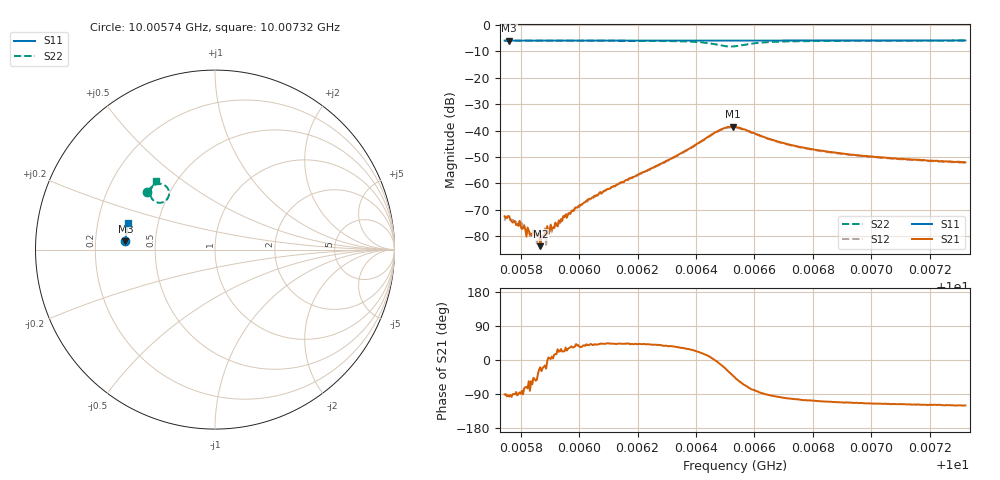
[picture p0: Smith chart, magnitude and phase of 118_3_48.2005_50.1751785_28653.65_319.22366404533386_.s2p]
#  HZ  S  RI  R  50.00
! Rohde & Schwarz Vector Network Analyzer
! Rohde-Schwarz,ZNB20-2Port,1311601062101988,3.16
! Created: UTC 3/20/2024, 11:41:17 AM
! freq[Hz]  re:S11  im:S11  re:S21  im:S21  re:S12  im:S12  re:S22  im:S22
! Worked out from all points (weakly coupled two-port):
!   401 points, 10.00574 GHz to 10.00732 GHz, reference 50 ohm
!   highest |S21| = -38.57 dB at 10.00653 GHz (marker M1); lowest = -83.7 dB at 10.00587 GHz (marker M2)
!   lowest |S11| = -6.0 dB at 10.00576 GHz (marker M3), VSWR 3.01, Z = 16.7 + j2.09 ohm
!   |S11| at or under -10 dB: nowhere
!   |S22| runs from -8.2 to -6.0 dB; largest |S21 - S12| = 0.00085
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1.0005745e10  -0.499 0.046  -3.84e-06 -0.000239  -3.6e-05 -0.000194  -0.3792 0.3221
1.0005761e10  -0.4989 0.047  -2.73e-05 -0.000237  1.14e-05 -0.00021  -0.3785 0.3229
1.00058e10  -0.4987 0.0495  2.14e-06 -0.000152  6.5e-06 -0.000153  -0.3764 0.3255
1.0005828e10  -0.4985 0.0513  7.12e-05 -0.000105  4.39e-05 -0.000118  -0.375 0.3273
1.0005847e10  -0.4985 0.0527  8.24e-05 -9.8e-05  6.26e-05 -0.000109  -0.3739 0.3284
1.0005867e10  -0.4983 0.0539  6.16e-05 -2.13e-05  6.31e-05 -4.39e-05  -0.3729 0.3297
1.0005879e10  -0.4985 0.0548  9.81e-05 -3.22e-05  9.3e-05 -7.78e-06  -0.3723 0.3306
1.0005899e10  -0.4983 0.056  0.000124 1.05e-05  0.000147 1.67e-05  -0.3711 0.3318
1.000593e10  -0.4981 0.0579  0.000186 7.45e-05  0.000141 8.65e-05  -0.3693 0.3339
1.000595e10  -0.498 0.0593  0.000212 9.02e-05  0.000204 0.000102  -0.368 0.3351
1.0006009e10  -0.4976 0.0632  0.000333 0.000232  0.000299 0.000254  -0.3643 0.3393
1.000608e10  -0.4971 0.0676  0.000499 0.000471  0.000477 0.000475  -0.3591 0.3445
1.0006273e10  -0.4955 0.0802  0.00174 0.00145  0.00163 0.00148  -0.3369 0.36
1.0006404e10  -0.4941 0.0887  0.00517 0.00214  0.00496 0.00233  -0.2974 0.3652
1.0006478e10  -0.4929 0.0934  0.00997 -0.00138  0.00977 -0.000827  -0.2569 0.3247
1.0006526e10  -0.4923 0.0959  0.0089 -0.00773  0.00907 -0.00701  -0.2793 0.2694
1.0006534e10  -0.4922 0.096  0.00811 -0.0085  0.00824 -0.00785  -0.2887 0.2645
1.0006617e10  -0.4921 0.1012  0.000642 -0.00823  0.00111 -0.00793  -0.3541 0.2876
1.0006707e10  -0.4912 0.1071  -0.00104 -0.00553  -0.00076 -0.00549  -0.3607 0.3202
1.0006798e10  -0.4904 0.1132  -0.0013 -0.00425  -0.00109 -0.00421  -0.3564 0.3378
1.0007062e10  -0.4867 0.1298  -0.00133 -0.00273  -0.00114 -0.00272  -0.3406 0.3639
1.0007322e10  -0.4825 0.1462  -0.00125 -0.00217  -0.00111 -0.00218  -0.3263 0.3801
